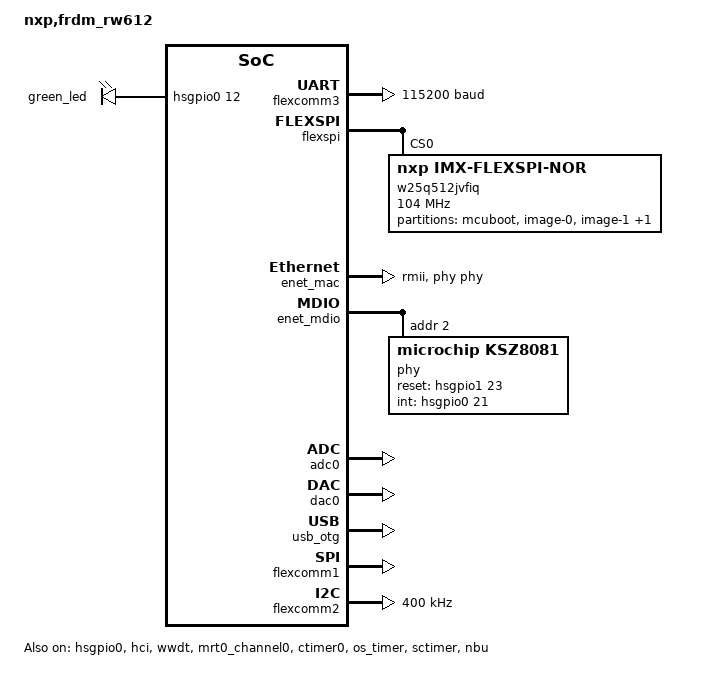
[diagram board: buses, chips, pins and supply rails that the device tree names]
/*
 * Copyright 2024-2025 NXP
 *
 * SPDX-License-Identifier: Apache-2.0
 */

#include "frdm_rw612-pinctrl.dtsi"

/ {
	model = "nxp,frdm_rw612";

	aliases {
		led0 = &green_led;
		watchdog0 = &wwdt;
		usart-0 = &flexcomm3;
		i2c-0 = &flexcomm2;
		pwm-0 = &sctimer;
	};

	chosen {
		zephyr,sram = &sram_data;
		zephyr,flash = &w25q512jvfiq;
		zephyr,console = &flexcomm3;
		zephyr,shell-uart = &flexcomm3;
		zephyr,flash-controller = &w25q512jvfiq;
		zephyr,code-partition = &slot0_partition;
		zephyr,uart-mcumgr = &flexcomm3;
	};

	leds {
		compatible = "gpio-leds";
		green_led: led_1 {
			gpios = <&hsgpio0 12 0>;
		};
	};
};

&flexcomm3 {
	compatible = "nxp,lpc-usart";
	status = "okay";
	current-speed = <115200>;
	pinctrl-0 = <&pinmux_flexcomm3_usart>;
	pinctrl-names = "default";
};

&flexcomm0 {
	compatible = "nxp,lpc-usart";
	status = "disabled";
	current-speed = <115200>;
	pinctrl-0 = <&pinmux_flexcomm0_usart>;
	pinctrl-names = "default";
};

&hsgpio0 {
	status = "okay";
};

&flexspi {
	status = "okay";
	ahb-bufferable;
	ahb-prefetch;
	ahb-cacheable;
	ahb-read-addr-opt;
	ahb-boundary = "1024";
	rx-clock-source = <1>;
	rx-clock-source-b = <1>;
	/* Winbond external flash */
	w25q512jvfiq: w25q512jvfiq@0 {
		compatible = "nxp,imx-flexspi-nor";
		reg = <0>;
		size = <DT_SIZE_M(64 * 8)>;
		status = "okay";
		erase-block-size = <4096>;
		write-block-size = <1>;
		spi-max-frequency = <104000000>;

		partitions {
			compatible = "fixed-partitions";
			#address-cells = <1>;
			#size-cells = <1>;

			boot_partition: partition@0 {
				label = "mcuboot";
				reg = <0x00000000 DT_SIZE_K(128)>;
			};
			/* The MCUBoot swap-move algorithm uses the last 2 sectors
			 * of the primary slot0 for swap status and move.
			 */
			slot0_partition: partition@20000 {
				label = "image-0";
				reg = <0x00020000 (DT_SIZE_M(3) + DT_SIZE_K(2 * 4))>;
			};
			slot1_partition: partition@323000 {
				label = "image-1";
				reg = <0x00323000 DT_SIZE_M(3)>;
			};
			storage_partition: partition@623000 {
				label = "storage";
				reg = <0x00623000 (DT_SIZE_M(58) - DT_SIZE_K(136))>;
			};
		};
	};
	aps6404l: aps6404l@2 {
			compatible = "nxp,imx-flexspi-aps6404l";
			/* APS6404L is 8MB, 64MBit pSRAM */
			size = <DT_SIZE_M(8 * 8)>;
			reg = <2>;
			spi-max-frequency = <109000000>;
			/* PSRAM cannot be enabled while board is in default XIP
			 * configuration, as it will conflict with flash chip.
			 */
			status = "disabled";
			cs-interval-unit = <1>;
			cs-interval = <2>;
			cs-hold-time = <3>;
			cs-setup-time = <3>;
			data-valid-time = <6>;
			column-space = <0>;
			ahb-write-wait-unit = <2>;
			ahb-write-wait-interval = <0>;
	};
};

&hci {
	status = "okay";
	wakeup-source;
};

&enet_mac {
	status = "okay";
	pinctrl-0 = <&pinmux_enet>;
	pinctrl-names = "default";
	phy-handle = <&phy>;
	zephyr,random-mac-address;
	phy-connection-type = "rmii";
};

&enet_mdio {
	status = "okay";
	pinctrl-0 = <&pinmux_mdio>;
	pinctrl-names = "default";
	phy: phy@2 {
		compatible = "microchip,ksz8081";
		reg = <2>;
		status = "okay";
		reset-gpios = <&hsgpio1 23 GPIO_ACTIVE_HIGH>;
		int-gpios = <&hsgpio0 21 GPIO_ACTIVE_HIGH>;
		microchip,interface-type = "rmii";
	};
};

&wwdt {
	status = "okay";
};

&dma0 {
	status = "okay";
};

&mrt0_channel0 {
	status = "okay";
};

&ctimer0 {
	status = "okay";
};

&pmu {
	reset-causes-en = <PMU_RESET_CM33_LOCKUP>,
			  <PMU_RESET_ITRC>,
			  <PMU_RESET_AP_RESET>;
};

/* OS Timer is the wakeup source for PM mode 2 */
&os_timer {
	status = "okay";
	wakeup-source;
};

&systick {
	status = "disabled";
};

&adc0 {
	status = "okay";
};

&dac0 {
	status = "okay";
};

&sctimer {
	status = "okay";
	pinctrl-0 = <&pinmux_pwm0>;
	pinctrl-names = "default";
};

&nbu {
	status = "okay";
	wakeup-source;
};

zephyr_udc0: &usb_otg {
	status = "okay";
};

/*
 * the default resistors on the board breaks out the MOSI/MISO
 * pins to the nets labelled "UART" which go to J1 2 and 4,
 * but we are using it for spi mosi and miso here.
 * SCK is on J2 6 as labelled.
 */
&flexcomm1 {
	compatible = "nxp,lpc-spi";
	pinctrl-0 = <&pinmux_flexcomm1_spi>;
	pinctrl-names = "default";
	status = "okay";
	#address-cells = <1>;
	#size-cells = <0>;
};

arduino_i2c: &flexcomm2 {
	compatible = "nxp,lpc-i2c";
	status = "okay";
	clock-frequency = <I2C_BITRATE_FAST>;
	#address-cells = <1>;
	#size-cells = <0>;
	pinctrl-0 = <&pinmux_flexcomm2_i2c>;
	pinctrl-names = "default";
};
